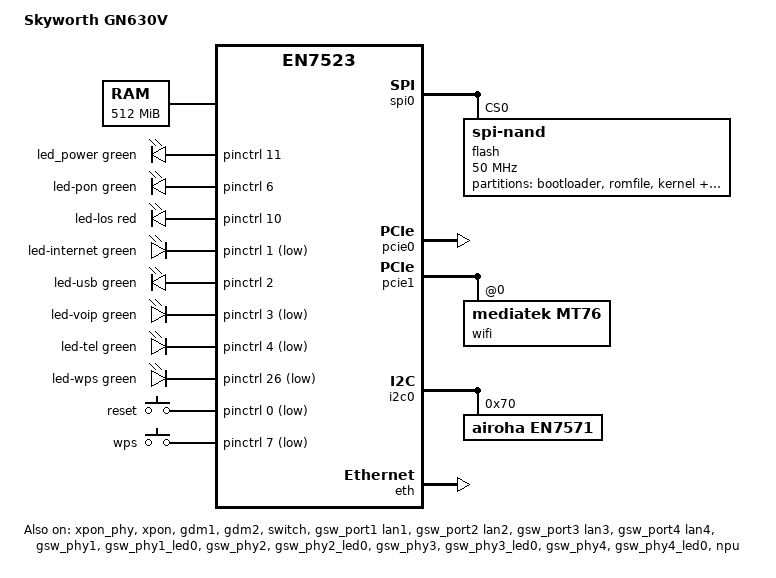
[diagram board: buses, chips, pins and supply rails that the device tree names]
// SPDX-License-Identifier: GPL-2.0-only OR BSD-2-Clause
/dts-v1/;

/*
 * Skyworth GN630V: GPON ONT, AX3000, 4x GbE.
 * Airoha AN7529CT (EN7523 family, 2x Cortex-A53 in AArch32), 512 MB DDR,
 * 256 MiB FORESEE F35SQB002G SPI-NAND, MT7916 Wi-Fi on PCIe, EN7571 GPON
 * optics. Facts from the stock UART boot log (stock kernel 4.4.115, U-Boot
 * 2014.04 Skyworth build) and the stock flash.
 */
/memreserve/ 0x80000000 0x200000;

#include <dt-bindings/gpio/gpio.h>
#include <dt-bindings/leds/common.h>
#include <dt-bindings/input/input.h>
#include "en7523.dtsi"

/ {
	model = "Skyworth GN630V";
	compatible = "skyworth,gn630v", "airoha,en7523";

	aliases {
		serial0 = &uart1;
		led-boot = &led_power;
		led-failsafe = &led_power;
		led-upgrade = &led_power;
		led-running = &led_power;
	};

	chosen {
		bootargs = "console=ttyS0,115200 earlycon";
		/* root= comes from the vendor U-Boot: /dev/mtdblock3 when it boots
		 * bank A, /dev/mtdblock6 for bank B (see the partition order) */
		bootargs-append = " rootfstype=squashfs";
		stdout-path = "serial0:115200n8";
		linux,usable-memory-range = <0x80200000 0x1fe00000>;
	};

	memory@80000000 {
		device_type = "memory";
		reg = <0x80000000 0x20000000>;
	};

	/*
	 * LEDs as found by blinking each pin on the board; the
	 * stock U-Boot env (dsl_gpio=0a) and vendor LED table do not match this
	 * board's wiring, and neither does env gpio_active_high: the polarities
	 * below were confirmed on the panel too. LAN LEDs (GPIO22-25) are the MT7530 PHYs' LED0
	 * outputs. GPIO5 is not a panel LED (it disturbed LAN4's LED). The Wi-Fi
	 * LED is not on a SoC GPIO: it is the MT7916's own LED (see &wifi).
	 */
	leds {
		compatible = "gpio-leds";

		led_power: led-power {
			color = <LED_COLOR_ID_GREEN>;
			function = LED_FUNCTION_POWER;
			function-enumerator = <11>;
			/* active-high: checked on 0.2.4, brightness 1 left it dark */
			gpios = <&pinctrl 11 GPIO_ACTIVE_HIGH>;
			default-state = "on";
		};

		led-pon {
			color = <LED_COLOR_ID_GREEN>;
			function = LED_FUNCTION_STATUS;
			function-enumerator = <6>;
			gpios = <&pinctrl 6 GPIO_ACTIVE_HIGH>;
		};

		led-los {
			color = <LED_COLOR_ID_RED>;
			function = LED_FUNCTION_ALARM;
			function-enumerator = <10>;
			gpios = <&pinctrl 10 GPIO_ACTIVE_HIGH>;
		};

		led-internet {
			color = <LED_COLOR_ID_GREEN>;
			function = LED_FUNCTION_WAN_ONLINE;
			function-enumerator = <1>;
			gpios = <&pinctrl 1 GPIO_ACTIVE_LOW>;
		};

		led-usb {
			color = <LED_COLOR_ID_GREEN>;
			function = LED_FUNCTION_USB;
			function-enumerator = <2>;
			gpios = <&pinctrl 2 GPIO_ACTIVE_HIGH>;
		};

		led-voip {
			color = <LED_COLOR_ID_GREEN>;
			function = LED_FUNCTION_INDICATOR;
			function-enumerator = <3>;
			gpios = <&pinctrl 3 GPIO_ACTIVE_LOW>;
		};

		led-tel {
			color = <LED_COLOR_ID_GREEN>;
			function = LED_FUNCTION_INDICATOR;
			function-enumerator = <4>;
			gpios = <&pinctrl 4 GPIO_ACTIVE_LOW>;
		};

		led-wps {
			color = <LED_COLOR_ID_GREEN>;
			function = LED_FUNCTION_WPS;
			function-enumerator = <26>;
			gpios = <&pinctrl 26 GPIO_ACTIVE_LOW>;
		};
	};

	/* found by watching the pins while pressing each button */
	keys {
		compatible = "gpio-keys";

		key-reset {
			label = "reset";
			gpios = <&pinctrl 0 GPIO_ACTIVE_LOW>;
			linux,code = <KEY_RESTART>;
		};

		key-wps {
			label = "wps";
			gpios = <&pinctrl 7 GPIO_ACTIVE_LOW>;
			linux,code = <KEY_WPS_BUTTON>;
		};
	};
};

&spi0 {
	flash@0 {
		compatible = "spi-nand";
		reg = <0>;
		spi-max-frequency = <50000000>;

		partitions {
			compatible = "fixed-partitions";
			#address-cells = <1>;
			#size-cells = <1>;

			/*
			 * Dual image. The U-Boot bootflag (ASCII '0'/'1' at 0xdfc0000)
			 * selects bank A (0xc0000) or bank B (0x20c0000), 32 MiB each.
			 * AlphaWRT runs from either bank: the stock web upgrade writes the
			 * inactive one. Each bank:
			 *   +0      HDR2 header + FIT (fdt@1/kernel@1/filesystem@1), 6 MiB
			 *   +6 MiB  squashfs root, 16 MiB
			 *   +22 MiB UBI overlay (rootfs_data), 10 MiB
			 * The partition order is fixed so that the root= the vendor U-Boot
			 * passes (mtdblock3 for A, mtdblock6 for B) is the right squashfs.
			 * Software only writes the bank it runs from; the other bank keeps
			 * stock as fallback. 0x6dc0000-0xddc0000 is unused (verified erased).
			 */
			partition@0 {
				label = "bootloader";
				reg = <0x00000000 0x00080000>;
				read-only;

				/* U-Boot env at 0x7c000 (16 KiB, CRC32 + key=value). Never
				 * write it: it shares an erase block with U-Boot code. */
				nvmem-layout {
					compatible = "fixed-layout";
					#address-cells = <1>;
					#size-cells = <1>;

					/* value of "ethaddr=" in the env, "xx:xx:xx:xx:xx:xx" */
					macaddr_uboot: macaddr@7c34e {
						compatible = "mac-base";
						reg = <0x7c34e 0x11>;
						#nvmem-cell-cells = <1>;
					};
				};
			};

			partition@80000 {
				label = "romfile";
				reg = <0x00080000 0x00040000>;
				read-only;
			};

			/* bank A (stock "tclinux") */
			partition@c0000 {
				label = "kernel";
				reg = <0x000c0000 0x00600000>;
			};

			partition@6c0000 {
				label = "alphawrt_rootfs";	/* mtd3 */
				reg = <0x006c0000 0x01000000>;
			};

			partition@16c0000 {
				/* not "ubi"/"data", so no UBI auto-attach: preinit attaches
				 * the data partition of the bank it booted from */
				label = "alphawrt_data";
				reg = <0x016c0000 0x00a00000>;
			};

			/* bank B (stock "tclinux_slave") */
			partition@20c0000 {
				label = "kernel_b";
				reg = <0x020c0000 0x00600000>;
			};

			partition@26c0000 {
				label = "alphawrt_rootfs_b";	/* mtd6 */
				reg = <0x026c0000 0x01000000>;
			};

			partition@36c0000 {
				label = "alphawrt_data_b";
				reg = <0x036c0000 0x00a00000>;
			};

			partition@40c0000 {
				label = "config";
				reg = <0x040c0000 0x00800000>;
				read-only;
			};

			partition@48c0000 {
				label = "ubifs";
				reg = <0x048c0000 0x02000000>;
				read-only;
			};

			partition@68c0000 {
				label = "teapot";
				reg = <0x068c0000 0x00500000>;
				read-only;
			};

			partition@ddc0000 {
				label = "reservearea";
				reg = <0x0ddc0000 0x00200000>;
				read-only;

				nvmem-layout {
					compatible = "fixed-layout";
					#address-cells = <1>;
					#size-cells = <1>;

					/* MT7916 calibration, as stock ("5G" at 0x4c000) */
					mt7916_eeprom_factory: eeprom@4c000 {
						reg = <0x4c000 0x1000>;
					};

					/* EN7571 laser calibration (BOB): magic 0x07050701
					 * at +0x94 */
					en7571_bob: bob@140477 {
						reg = <0x140477 0x200>;
					};
				};
			};

			/* the stock reservearea continues here: its 128 KiB block
			 * holding only the U-Boot bootflag (see alphawrt-bootbank) */
			partition@dfc0000 {
				label = "bootflag";
				reg = <0x0dfc0000 0x00020000>;
			};

			partition@dfe0000 {
				label = "reservearea_tail";
				reg = <0x0dfe0000 0x00020000>;
				read-only;
			};
		};
	};
};

/*
 * The EN7523 pinctrl rejects the dtsi's open-drain setting on the PCIe reset
 * pins ("pin_config_set op failed for pin 41"), which stops both PCIe
 * controllers from probing. The reset works without it, as on the stock
 * kernel.
 */
&pcie0 {
	status = "okay";

	/delete-property/ pinctrl-names;
	/delete-property/ pinctrl-0;
};

&pcie1 {
	status = "okay";

	/delete-property/ pinctrl-names;
	/delete-property/ pinctrl-0;

	pcie@1,0 {
		reg = <0x0800 0 0 0 0>;
		#address-cells = <3>;
		#size-cells = <2>;

		wifi: wifi@0,0 {
			compatible = "mediatek,mt76";
			reg = <0x0000 0 0 0 0>;

			nvmem-cells = <&mt7916_eeprom_factory>, <&macaddr_uboot 4>;
			nvmem-cell-names = "eeprom", "mac-address";
			airoha,npu = <&npu>;
			airoha,eth = <&eth>;

			/* MT7916 LED controller: with DBDC, mt76 muxes GPIO14 to the
			 * 2.4 GHz LED and GPIO15 to the 5 GHz one whatever the pin
			 * number (non-zero only matters without DBDC); the polarity
			 * applies to both. */
			led {
				led-sources = <2>;
				led-active-low;
			};
		};
	};
};

&i2c0 {
	status = "okay";

	en7571: lddla@70 {
		compatible = "airoha,en7571";
		reg = <0x70>;

		nvmem-cells = <&en7571_bob>;
		nvmem-cell-names = "calibration";

		#optical-frontend-cells = <0>;
	};
};

&xpon_phy {
	status = "okay";
};

/* GPON identity is not set here: it is the ISP's, and goes in the OMCI
 * agent configuration (quick setup). */
&xpon {
	status = "okay";
	omci-vendor-id = "SKYW";

	optical-frontends = <&en7571>;
	optical-frontend-names = "pon";
};

&eth {
	status = "okay";
};

&gdm1 {
	status = "okay";

	nvmem-cells = <&macaddr_uboot 0>;
	nvmem-cell-names = "mac-address";
};

&gdm2 {
	status = "okay";
	phy-mode = "internal";

	nvmem-cells = <&macaddr_uboot 1>;
	nvmem-cell-names = "mac-address";

	/delete-property/ pcs-handle;

	airoha,xpon-managed;
	openwrt,netdev-name = "pon0";
};

&switch {
	status = "okay";
};

&gsw_port1 {
	label = "lan1";
	status = "okay";
};

&gsw_port2 {
	label = "lan2";
	status = "okay";
};

&gsw_port3 {
	label = "lan3";
	status = "okay";
};

&gsw_port4 {
	label = "lan4";
	status = "okay";
};

&gsw_phy1 {
	/* one LAN LED per port: LED0 only, GPIO4-7 stay free */
	pinctrl-0 = <&swp1_led0>;
	status = "okay";
};

&gsw_phy1_led0 {
	color = <LED_COLOR_ID_GREEN>;
	status = "okay";
};

&gsw_phy2 {
	/* one LAN LED per port: LED0 only, GPIO4-7 stay free */
	pinctrl-0 = <&swp2_led0>;
	status = "okay";
};

&gsw_phy2_led0 {
	color = <LED_COLOR_ID_GREEN>;
	status = "okay";
};

&gsw_phy3 {
	/* one LAN LED per port: LED0 only, GPIO4-7 stay free */
	pinctrl-0 = <&swp3_led0>;
	status = "okay";
};

&gsw_phy3_led0 {
	color = <LED_COLOR_ID_GREEN>;
	status = "okay";
};

&gsw_phy4 {
	/* one LAN LED per port: LED0 only, GPIO4-7 stay free */
	pinctrl-0 = <&swp4_led0>;
	status = "okay";
};

&gsw_phy4_led0 {
	color = <LED_COLOR_ID_GREEN>;
	status = "okay";
};

&npu {
	status = "okay";

	firmware-names = "rv32", "data";
	firmware-name = "airoha/en7523_kite_npu_rv32.bin",
			"airoha/en7523_kite_npu_data.bin";
};
